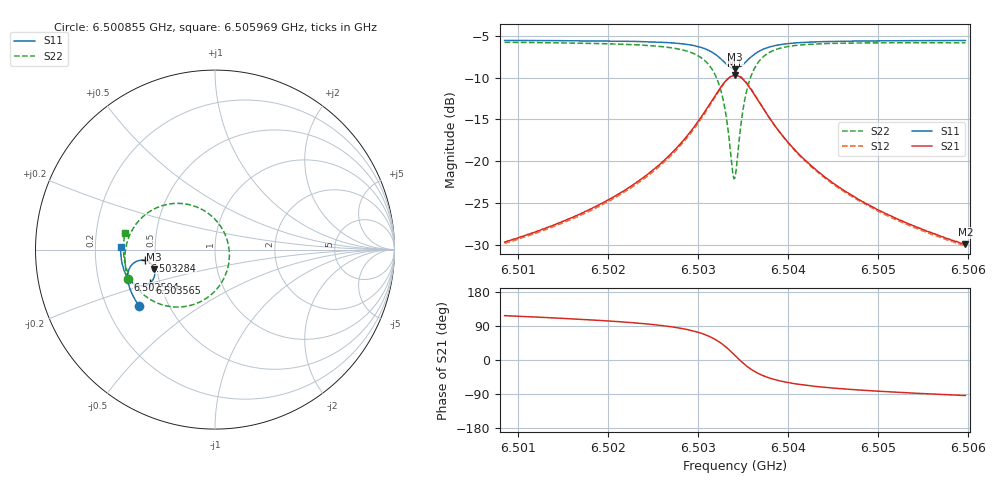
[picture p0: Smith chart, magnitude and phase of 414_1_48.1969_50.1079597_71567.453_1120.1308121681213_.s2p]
#  HZ  S  RI  R  50.00
! Rohde & Schwarz Vector Network Analyzer
! Rohde-Schwarz,ZNB20-2Port,1311601062101988,3.16
! Created: UTC 3/20/2024, 11:54:38 AM
! freq[Hz]  re:S11  im:S11  re:S21  im:S21  re:S12  im:S12  re:S22  im:S22
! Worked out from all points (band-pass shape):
!   401 points, 6.500855 GHz to 6.505969 GHz, reference 50 ohm
!   highest |S21| = -9.74 dB at 6.503412 GHz (marker M1); lowest = -29.9 dB at 6.505969 GHz (marker M2)
!   |S21| within 3 dB of the highest: 6.503157 GHz to 6.503668 GHz (510.7 kHz wide, 0.00785 % of centre)
!   lowest |S11| = -9.0 dB at 6.503412 GHz (marker M3), VSWR 2.10, Z = 24.2 - j6.02 ohm
!   |S11| at or under -10 dB: nowhere
!   |S22| runs from -22.1 to -5.8 dB; largest |S21 - S12| = 0.011
!   S11 on the Smith chart (normalised r, x): 6.500855 GHz: 0.34, -0.30; 6.502594 GHz: 0.33, -0.15; 6.503284 GHz: 0.44, -0.06; 6.503565 GHz: 0.44, -0.20; 6.505969 GHz: 0.31, +0.01
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6.5008552e9  -0.4219 -0.3151  -0.015 0.0293  -0.0133 0.0296  -0.4868 -0.1633
6.5017117e9  -0.4593 -0.2527  -0.0145 0.0469  -0.0121 0.0464  -0.5016 -0.0737
6.5021975e9  -0.4766 -0.2099  -0.0115 0.0666  -0.00859 0.0656  -0.4992 -0.00575
6.5025682e9  -0.4858 -0.1695  -0.00298 0.0949  0.000521 0.0928  -0.481 0.0672
6.5025938e9  -0.4861 -0.1662  -0.00185 0.0977  0.00181 0.0953  -0.4786 0.0734
6.5028878e9  -0.4829 -0.1216  0.0248 0.1411  0.0285 0.1368  -0.4233 0.162
6.5030796e9  -0.4623 -0.0836  0.0779 0.1829  0.0803 0.1769  -0.3216 0.2345
6.5031946e9  -0.4303 -0.0627  0.146 0.2008  0.1467 0.1945  -0.1991 0.2576
6.5032841e9  -0.3904 -0.0606  0.2247 0.1853  0.225 0.1803  -0.0636 0.2189
6.5033225e9  -0.3712 -0.0679  0.2608 0.1628  0.2616 0.1582  -0.00395 0.1731
6.5033864e9  -0.3444 -0.0941  0.3084 0.0999  0.3108 0.0951  0.0682 0.0518
6.5034119e9  -0.3381 -0.1085  0.3188 0.0678  0.3218 0.0623  0.0793 -0.0076
6.5034375e9  -0.335 -0.1241  0.3227 0.0345  0.326 0.0277  0.0779 -0.0685
6.5035014e9  -0.342 -0.1609  0.305 -0.0429  0.3071 -0.0526  0.0236 -0.2029
6.5035653e9  -0.3629 -0.1868  0.2626 -0.0969  0.2616 -0.1079  -0.0717 -0.2853
6.5036676e9  -0.4021 -0.2019  0.1887 -0.133  0.1835 -0.1424  -0.2206 -0.3198
6.5038338e9  -0.4479 -0.1924  0.1076 -0.1303  0.1008 -0.1353  -0.3666 -0.274
6.5040128e9  -0.4752 -0.171  0.0634 -0.1106  0.0574 -0.1128  -0.4381 -0.2097
6.5042685e9  -0.496 -0.141  0.0339 -0.0865  0.0292 -0.0871  -0.4811 -0.1382
6.5046648e9  -0.5119 -0.1002  0.0145 -0.0632  0.0113 -0.0628  -0.504 -0.0615
6.505125e9  -0.5211 -0.0579  0.00497 -0.0473  0.00275 -0.0466  -0.5098 0.00199
6.5059687e9  -0.5258 0.0132  -0.00194 -0.0318  -0.00335 -0.0309  -0.5019 0.0902
